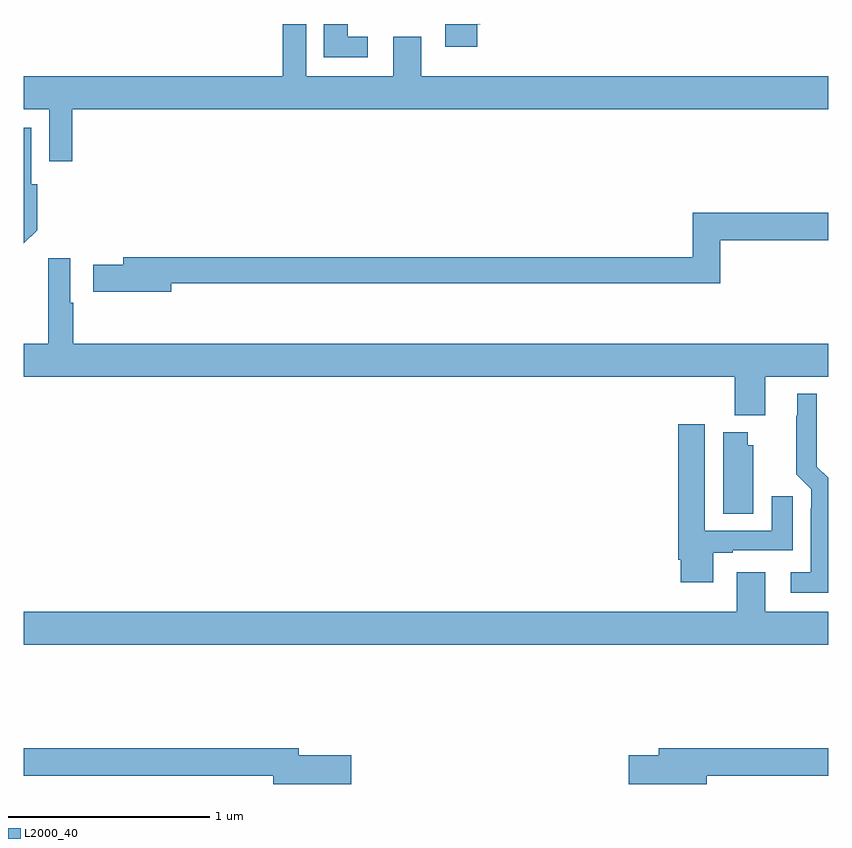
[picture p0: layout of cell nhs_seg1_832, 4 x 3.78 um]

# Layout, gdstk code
import gdstk
lib = gdstk.Library(unit=1e-6, precision=1e-09)
def P(c, l, *ps):  # polygons
    for p in ps: c.add(gdstk.Polygon(p, *l))
L2000_40 = (2000, 40)

nhs_seg1_832 = lib.new_cell('nhs_seg1_832')
P(nhs_seg1_832, L2000_40, [(157,507.776),(157.125,507.776),(157.125,507.516),(157.241,507.516),(157.241,507.776),(161,507.776),(161,507.94),(158.977,507.94),(158.977,508.135),(158.837,508.135),(158.837,507.94),(158.403,507.94),(158.403,508.199),(158.287,508.199),(158.287,507.94),(157,507.94)],
  [(158.71,508.135),(158.611,508.135),(158.611,508.199),(158.492,508.199),(158.492,508.034),(158.71,508.034)],
  [(159.256,508.198),(159.269,508.198),(159.269,508.199),(159.095,508.199),(159.095,508.086),(159.256,508.086)],
  [(157.067,507.173),(157.067,507.402),(157.036,507.402),(157.036,507.682),(157,507.682),(157,507.107)],
  [(157.732,506.91),(160.463,506.91),(160.463,507.124),(161,507.124),(161,507.26),(160.327,507.26),(160.327,507.038),(157.493,507.038),(157.493,507.002),(157.344,507.002),(157.344,506.867),(157.732,506.867)],
  [(160.687,506.444),(161,506.444),(161,506.608),(157.244,506.608),(157.244,506.813),(157.231,506.813),(157.231,507.034),(157.121,507.034),(157.121,506.608),(157,506.608),(157,506.444),(160.535,506.444),(160.535,506.252),(160.687,506.252)],
  [(161,505.941),(160.945,505.996),(160.945,506.359),(160.847,506.359),(160.847,506.249),(160.843,506.249),(160.843,505.958),(160.917,505.884),(160.917,505.79),(160.913,505.79),(160.913,505.471),(160.815,505.471),(160.815,505.37),(161,505.37)],
  [(160.429,505.569),(160.525,505.569),(160.525,505.581),(160.825,505.581),(160.825,505.849),(160.721,505.849),(160.721,505.677),(160.387,505.677),(160.387,506.209),(160.256,506.209),(160.256,505.534),(160.268,505.534),(160.268,505.422),(160.429,505.422)],
  [(160.627,506.103),(160.6,506.103),(160.6,506.167),(160.478,506.167),(160.478,505.762),(160.627,505.762)],
  [(160.547,505.471),(160.547,505.276),(157,505.276),(157,505.112),(161,505.112),(161,505.276),(160.687,505.276),(160.687,505.471)],
  [(160.396,504.46),(161,504.46),(161,504.596),(160.157,504.596),(160.157,504.56),(160.008,504.56),(160.008,504.418),(160.396,504.418)],
  [(158.629,504.56),(158.368,504.56),(158.368,504.596),(157,504.596),(157,504.46),(158.24,504.46),(158.24,504.418),(158.629,504.418)])

lib.write_gds('nhs_seg1_832.gds')
